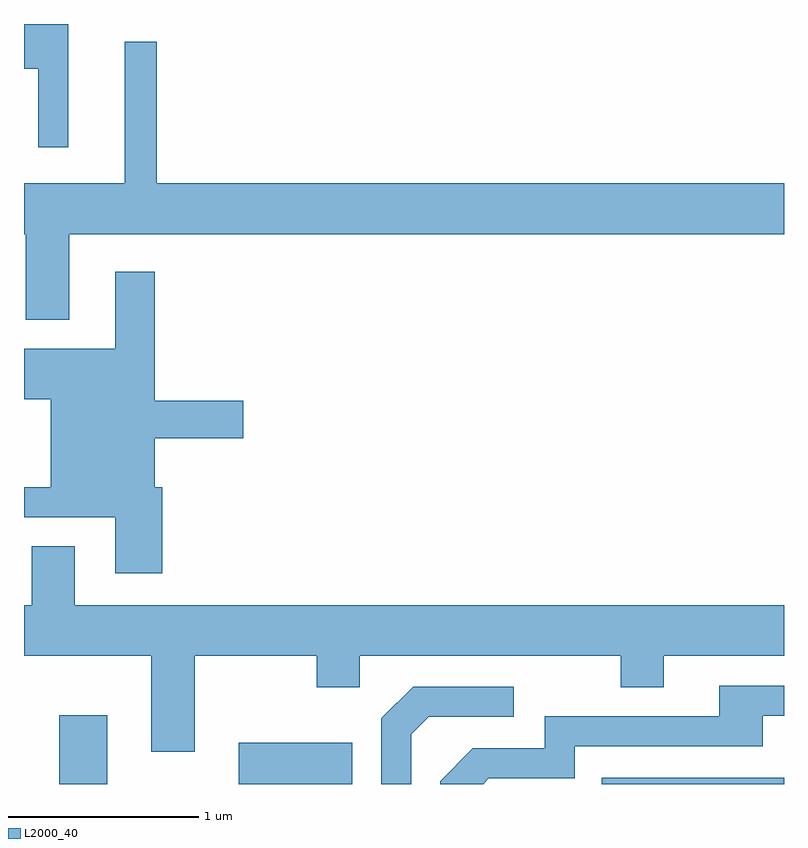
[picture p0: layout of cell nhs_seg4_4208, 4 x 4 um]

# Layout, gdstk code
import gdstk
lib = gdstk.Library(unit=1e-6, precision=1e-09)
def R(c, l, rs):  # rectangles x0, y0, x1, y1
    for r in rs: c.add(gdstk.rectangle(r[:2], r[2:], *l))
def P(c, l, *ps):  # polygons
    for p in ps: c.add(gdstk.Polygon(p, *l))
L2000_40 = (2000, 40)

nhs_seg4_4208 = lib.new_cell('nhs_seg4_4208')
R(nhs_seg4_4208, L2000_40, [(307.796,1373.982,308.049,1374.344), (308.741,1373.982,309.339,1374.199), (310.653,1373.982,311.611,1374.014)])
P(nhs_seg4_4208, L2000_40, [(307.844,1377.982),(307.611,1377.982),(307.611,1377.746),(307.686,1377.746),(307.686,1377.333),(307.844,1377.333)],
  [(307.849,1376.876),(311.611,1376.876),(311.611,1377.144),(308.309,1377.144),(308.309,1377.888),(308.141,1377.888),(308.141,1377.144),(307.611,1377.144),(307.611,1376.876),(307.621,1376.876),(307.621,1376.426),(307.849,1376.426)],
  [(308.339,1375.544),(308.299,1375.544),(308.299,1375.801),(308.764,1375.801),(308.764,1375.999),(308.299,1375.999),(308.299,1376.679),(308.091,1376.679),(308.091,1376.274),(307.611,1376.274),(307.611,1376.006),(307.751,1376.006),(307.751,1375.544),(307.611,1375.544),(307.611,1375.386),(308.091,1375.386),(308.091,1375.091),(308.339,1375.091)],
  [(308.509,1374.656),(309.151,1374.656),(309.151,1374.491),(309.379,1374.491),(309.379,1374.656),(310.751,1374.656),(310.751,1374.491),(310.979,1374.491),(310.979,1374.656),(311.611,1374.656),(311.611,1374.924),(307.879,1374.924),(307.879,1375.234),(307.651,1375.234),(307.651,1374.924),(307.611,1374.924),(307.611,1374.656),(308.281,1374.656),(308.281,1374.151),(308.509,1374.151)],
  [(310.057,1374.011),(310.509,1374.011),(310.509,1374.181),(311.499,1374.181),(311.499,1374.341),(311.611,1374.341),(311.611,1374.499),(311.271,1374.499),(311.271,1374.339),(310.351,1374.339),(310.351,1374.169),(309.974,1374.169),(309.801,1373.997),(309.801,1373.982),(310.028,1373.982)],
  [(309.649,1374.244),(309.742,1374.336),(310.188,1374.336),(310.188,1374.494),(309.659,1374.494),(309.491,1374.327),(309.491,1373.982),(309.649,1373.982)])

lib.write_gds('nhs_seg4_4208.gds')
